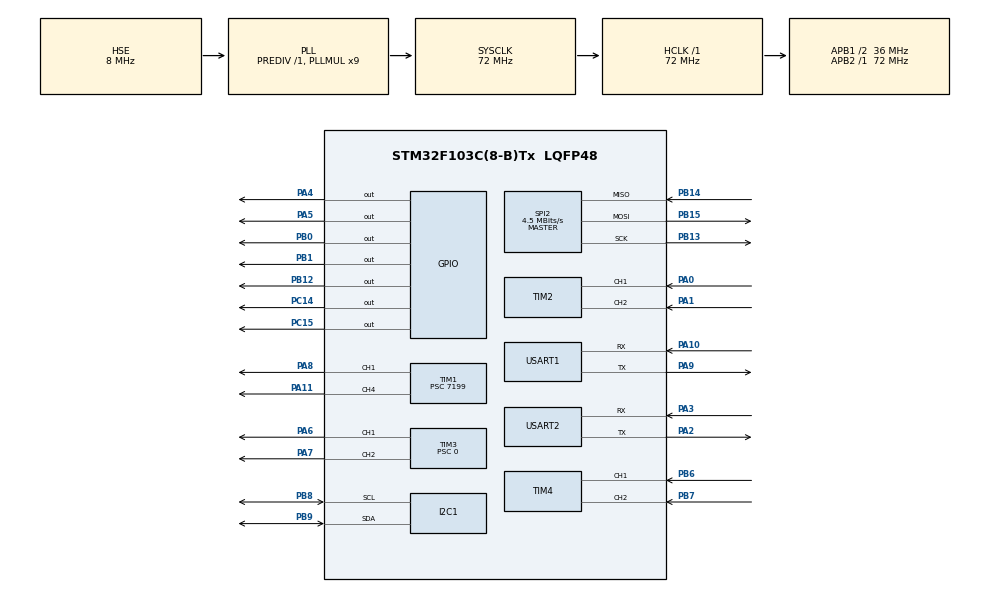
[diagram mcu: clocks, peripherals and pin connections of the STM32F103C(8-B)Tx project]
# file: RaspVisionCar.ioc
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Dma.Request0=USART1_RX
Dma.Request1=USART1_TX
Dma.USART1_RX.0.Direction=DMA_PERIPH_TO_MEMORY
Dma.USART1_RX.0.Instance=DMA1_Channel5
Dma.USART1_RX.0.MemDataAlignment=DMA_MDATAALIGN_BYTE
Dma.USART1_RX.0.MemInc=DMA_MINC_ENABLE
Dma.USART1_RX.0.Mode=DMA_NORMAL
Dma.USART1_RX.0.PeriphDataAlignment=DMA_PDATAALIGN_BYTE
Dma.USART1_RX.0.PeriphInc=DMA_PINC_DISABLE
Dma.USART1_RX.0.Priority=DMA_PRIORITY_LOW
Dma.USART1_TX.1.Direction=DMA_MEMORY_TO_PERIPH
Dma.USART1_TX.1.Instance=DMA1_Channel4
Dma.USART1_TX.1.MemDataAlignment=DMA_MDATAALIGN_BYTE
Dma.USART1_TX.1.MemInc=DMA_MINC_ENABLE
Dma.USART1_TX.1.Mode=DMA_NORMAL
Dma.USART1_TX.1.PeriphDataAlignment=DMA_PDATAALIGN_BYTE
Dma.USART1_TX.1.PeriphInc=DMA_PINC_DISABLE
Dma.USART1_TX.1.Priority=DMA_PRIORITY_LOW
Mcu.Family=STM32F1
Mcu.Name=STM32F103C(8-B)Tx
Mcu.Package=LQFP48
NVIC.DMA1_Channel4_IRQn=true\:0\:0\:false\:false\:true\:false\:true\:true
NVIC.DMA1_Channel5_IRQn=true\:0\:0\:false\:false\:true\:false\:true\:true
NVIC.PriorityGroup=NVIC_PRIORITYGROUP_4
NVIC.TIM1_CC_IRQn=true\:0\:0\:false\:false\:true\:true\:true\:true
NVIC.TIM1_UP_IRQn=true\:0\:0\:false\:false\:true\:true\:true\:true
NVIC.USART1_IRQn=true\:0\:0\:false\:false\:true\:true\:true\:true
PA0-WKUP.GPIO_PuPd=GPIO_PULLUP
PA0-WKUP.Signal=S_TIM2_CH1_ETR
PA1.GPIO_PuPd=GPIO_PULLUP
PA1.Signal=S_TIM2_CH2
PA10.Mode=Asynchronous
PA10.Signal=USART1_RX
PA11.Signal=S_TIM1_CH4
PA13.Mode=Serial_Wire
PA13.Signal=SYS_JTMS-SWDIO
PA14.Mode=Serial_Wire
PA14.Signal=SYS_JTCK-SWCLK
PA2.Mode=Asynchronous
PA2.Signal=USART2_TX
PA3.Mode=Asynchronous
PA3.Signal=USART2_RX
PA4.Signal=GPIO_Output
PA5.Signal=GPIO_Output
PA6.Signal=S_TIM3_CH1
PA7.Signal=S_TIM3_CH2
PA8.Signal=S_TIM1_CH1
PA9.Mode=Asynchronous
PA9.Signal=USART1_TX
PB0.Signal=GPIO_Output
PB1.Signal=GPIO_Output
PB12.PinState=GPIO_PIN_SET
PB12.Signal=GPIO_Output
PB13.Mode=Full_Duplex_Master
PB13.Signal=SPI2_SCK
PB14.Mode=Full_Duplex_Master
PB14.Signal=SPI2_MISO
PB15.Mode=Full_Duplex_Master
PB15.Signal=SPI2_MOSI
PB6.GPIO_PuPd=GPIO_PULLUP
PB6.Signal=S_TIM4_CH1
PB7.GPIO_PuPd=GPIO_PULLUP
PB7.Signal=S_TIM4_CH2
PB8.Mode=I2C
PB8.Signal=I2C1_SCL
PB9.Mode=I2C
PB9.Signal=I2C1_SDA
PC14-OSC32_IN.Signal=GPIO_Output
PC15-OSC32_OUT.Signal=GPIO_Output
PD0-OSC_IN.Mode=HSE-External-Oscillator
PD0-OSC_IN.Signal=RCC_OSC_IN
PD1-OSC_OUT.Mode=HSE-External-Oscillator
PD1-OSC_OUT.Signal=RCC_OSC_OUT
ProjectManager.HeapSize=0x200
ProjectManager.StackSize=0x400
ProjectManager.TargetToolchain=Makefile
RCC.AHBFreq_Value=72000000
RCC.APB1CLKDivider=RCC_HCLK_DIV2
RCC.APB1Freq_Value=36000000
RCC.APB1TimFreq_Value=72000000
RCC.APB2Freq_Value=72000000
RCC.APB2TimFreq_Value=72000000
RCC.HCLKFreq_Value=72000000
RCC.PLLMUL=RCC_PLL_MUL9
RCC.PLLSourceVirtual=RCC_PLLSOURCE_HSE
RCC.SYSCLKFreq_VALUE=72000000
RCC.SYSCLKSource=RCC_SYSCLKSOURCE_PLLCLK
RCC.USBFreq_Value=72000000
SH.S_TIM1_CH1.0=TIM1_CH1,Output Compare1 CH1
SH.S_TIM1_CH4.0=TIM1_CH4,Output Compare4 CH4
SH.S_TIM2_CH1_ETR.0=TIM2_CH1,Encoder_Interface
SH.S_TIM2_CH2.0=TIM2_CH2,Encoder_Interface
SH.S_TIM3_CH1.0=TIM3_CH1,PWM Generation1 CH1
SH.S_TIM3_CH2.0=TIM3_CH2,PWM Generation2 CH2
SH.S_TIM4_CH1.0=TIM4_CH1,Encoder_Interface
SH.S_TIM4_CH2.0=TIM4_CH2,Encoder_Interface
SPI2.BaudRatePrescaler=SPI_BAUDRATEPRESCALER_8
SPI2.CLKPhase=SPI_PHASE_2EDGE
SPI2.CLKPolarity=SPI_POLARITY_HIGH
SPI2.CalculateBaudRate=4.5 MBits/s
SPI2.Direction=SPI_DIRECTION_2LINES
SPI2.Mode=SPI_MODE_MASTER
SPI2.VirtualType=VM_MASTER
TIM1.AutoReloadPreload=TIM_AUTORELOAD_PRELOAD_ENABLE
TIM1.Channel-Output\ Compare1\ CH1=TIM_CHANNEL_1
TIM1.Channel-Output\ Compare4\ CH4=TIM_CHANNEL_4
TIM1.Period=10000-1
TIM1.Prescaler=7199
TIM1.Pulse-Output\ Compare1\ CH1=100-1
TIM1.Pulse-Output\ Compare4\ CH4=200-1
TIM2.EncoderMode=TIM_ENCODERMODE_TI12
TIM2.IC1Filter=8
TIM3.AutoReloadPreload=TIM_AUTORELOAD_PRELOAD_ENABLE
TIM3.Channel-PWM\ Generation1\ CH1=TIM_CHANNEL_1
TIM3.Channel-PWM\ Generation2\ CH2=TIM_CHANNEL_2
TIM3.Period=3599
TIM3.Prescaler=0
TIM4.EncoderMode=TIM_ENCODERMODE_TI12
TIM4.IC1Filter=8
USART1.VirtualMode=VM_ASYNC
USART2.VirtualMode=VM_ASYNC
VP_TIM1_VS_ClockSourceINT.Mode=Internal
VP_TIM3_VS_ClockSourceINT.Mode=Internal
board=custom

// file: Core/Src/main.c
/* USER CODE BEGIN Header */
/**
 ******************************************************************************
 * @file           : main.c
 * @brief          : Main program body
 ******************************************************************************
 * @attention
 *
 * Copyright (c) 2025 STMicroelectronics.
 * All rights reserved.
 *
 * This software is licensed under terms that can be found in the LICENSE file
 * in the root directory of this software component.
 * If no LICENSE file comes with this software, it is provided AS-IS.
 *
 ******************************************************************************
 */
/* USER CODE END Header */
#include "main.h"
#include "dma.h"
#include "i2c.h"
#include "spi.h"
#include "tim.h"
#include "usart.h"
#include "gpio.h"

/* USER CODE BEGIN Includes */
#include "motor.h"
#include "rasp_comm.h"
#include "justfloat.h"
#include "ssd1306.h"
#include "feedforward_controller.h"
#include "encoder.h"
#include "pid_controller.h"
#include "buzzer.h"
#include "icm42688.h"
#include "ahrs_hal.h"
#include "common.h"
// Add this in your main.h or similar header file

/* USER CODE END Includes */

/* USER CODE BEGIN PV */
// system stop flag will be set on rasp_comm "stop" and "start"
volatile uint8_t system_stop_flag = 1;
volatile uint8_t motor_update_flag = 0;
// motor controller硬程序停止
volatile uint8_t motor_program_stop_flag = 1;

volatile uint8_t imu_update_flag = 0;
/* USER CODE END PV */

void SystemClock_Config(void);

/* USER CODE BEGIN 0 */

uint32_t get_tick_ms(void)
{
    // Get CPU cycles and convert to milliseconds
    uint32_t cycles = DWT->CYCCNT;
    return cycles / (SystemCoreClock / 1000);
}

void imu_init();
void imu_update();

#define ICM42688_CS_LOW()   HAL_GPIO_WritePin(GPIOB, GPIO_PIN_12, GPIO_PIN_RESET)
#define ICM42688_CS_HIGH()  HAL_GPIO_WritePin(GPIOB, GPIO_PIN_12, GPIO_PIN_SET)

#define WHO_AM_I_REG  0x75
#define WHO_AM_I_VAL  0x47

extern SPI_HandleTypeDef hspi2;

uint8_t ICM42688_ReadReg(uint8_t reg)
{
    uint8_t tx[2], rx[2];
    tx[0] = reg | 0x80; // set MSB=1 for read
    tx[1] = 0x00;

    ICM42688_CS_LOW();
    HAL_SPI_Transmit(&hspi2, &tx[0], 1, HAL_MAX_DELAY);
    HAL_SPI_Receive(&hspi2, &rx[1], 1, HAL_MAX_DELAY);
    ICM42688_CS_HIGH();

    return rx[1];
}

void ICM42688_Test(void)
{
    HAL_Delay(100); // wait for sensor power-up

    uint8_t whoami = ICM42688_ReadReg(WHO_AM_I_REG);
    if (whoami == WHO_AM_I_VAL)
    {
        usart_info("ICM42688 detected! WHO_AM_I = 0x%02X\r\n", whoami);
    }
    else
    {
        usart_info("ICM42688 not detected! Read: 0x%02X\r\n", whoami);
    }
}
/* USER CODE END 0 */

int main(void)
{

  /* MCU Configuration--------------------------------------------------------*/

  /* Reset of all peripherals, Initializes the Flash interface and the Systick. */
  HAL_Init();

  /* Configure the system clock */
  SystemClock_Config();

  /* Initialize all configured peripherals */
  MX_GPIO_Init();
  MX_DMA_Init();
  MX_USART1_UART_Init();
  MX_TIM3_Init();
  MX_TIM2_Init();
  MX_TIM4_Init();
  MX_I2C1_Init();
  MX_USART2_UART_Init();
  MX_TIM1_Init();
  MX_SPI2_Init();
  /* USER CODE BEGIN 2 */

  // Enable DWT (Data Watchpoint and Trace) unit
  // CoreDebug->DEMCR |= CoreDebug_DEMCR_TRCENA_Msk;
  // DWT->CYCCNT = 0;
  // DWT->CTRL |= DWT_CTRL_CYCCNTENA_Msk;

  SSD1306_Init();
  rasp_comm_init();

  HAL_Delay(1000); // delay for icm42688 starting
  imu_init();
  // ICM42688_Test();

  init_encoders();
  Motor_Init();
  ff_init_default();
  pid_init_default();

  motor_controller_set_turn_angle(0);
  motor_controller_set_target_rpm(0, 0);

  HAL_TIM_Base_Start_IT(&htim1);
  // 启动比较中断
  HAL_TIM_OC_Start_IT(&htim1, TIM_CHANNEL_1);
  HAL_TIM_OC_Start_IT(&htim1, TIM_CHANNEL_4);

  usart_info("========================================");
  usart_info("Rasp Vision Car v1");
  usart_info("========================================");
  buzzer_on(3);

  /* USER CODE END 2 */

  /* Infinite loop */
  /* USER CODE BEGIN WHILE */
  while (1) {
    rasp_comm_poll();

    if(motor_update_flag) {
      motor_update_flag = 0;
      motor_controller_update();
    }
    if(imu_update_flag) {
      imu_update_flag = 0;
      // imu_update();
    }
    // Update OLED display
    uint32_t current_time = HAL_GetTick();
    static uint32_t last_status_time = 0;
    if (current_time - last_status_time > 1000) {
      SSD1306_Fill(SSD1306_COLOR_BLACK);
      SSD1306_GotoXY(0, 0);
      SSD1306_Puts("Rasp Vision Car v1", &Font_7x10, SSD1306_COLOR_WHITE);
      SSD1306_GotoXY(0, 15);
      SSD1306_Puts("UPT:", &Font_7x10, SSD1306_COLOR_WHITE);
      SSD1306_GotoXY(35, 15);
      char time_str[12];
      snprintf(time_str, sizeof(time_str), "%us", (unsigned int)(HAL_GetTick() / 1000));
      SSD1306_Puts(time_str, &Font_7x10, SSD1306_COLOR_WHITE);

      char targets_str[18];
      int16_t real_target_left_rpm = 0, real_target_right_rpm = 0;
      motor_controller_get_real_target_rpm(&real_target_left_rpm, &real_target_right_rpm);
      int16_t turn_angle = motor_controller_get_turn_angle();
      snprintf(targets_str, sizeof(targets_str), "V: %d, %d T: %d", real_target_left_rpm, real_target_right_rpm, turn_angle);
      SSD1306_GotoXY(0, 30);
      SSD1306_Puts(targets_str, &Font_7x10, SSD1306_COLOR_WHITE);

      int16_t l_rpm = 0, r_rpm = 0;
      encoder_get_motor_speed(&l_rpm, &r_rpm);
      char speed_str[18];
      snprintf(speed_str, sizeof(speed_str), "MTR: %d %d rpm", l_rpm, r_rpm);
      SSD1306_GotoXY(0, 45);
      SSD1306_Puts(speed_str, &Font_7x10, SSD1306_COLOR_WHITE);
      SSD1306_UpdateScreen();

      last_status_time = HAL_GetTick();
    }

    /* USER CODE END WHILE */

  }
}

void SystemClock_Config(void)
{
  RCC_OscInitTypeDef RCC_OscInitStruct = {0};
  RCC_ClkInitTypeDef RCC_ClkInitStruct = {0};

  /** Initializes the RCC Oscillators according to the specified parameters
  * in the RCC_OscInitTypeDef structure.
  */
  RCC_OscInitStruct.OscillatorType = RCC_OSCILLATORTYPE_HSE;
  RCC_OscInitStruct.HSEState = RCC_HSE_ON;
  RCC_OscInitStruct.HSEPredivValue = RCC_HSE_PREDIV_DIV1;
  RCC_OscInitStruct.HSIState = RCC_HSI_ON;
  RCC_OscInitStruct.PLL.PLLState = RCC_PLL_ON;
  RCC_OscInitStruct.PLL.PLLSource = RCC_PLLSOURCE_HSE;
  RCC_OscInitStruct.PLL.PLLMUL = RCC_PLL_MUL9;
  if (HAL_RCC_OscConfig(&RCC_OscInitStruct) != HAL_OK)
  {
    Error_Handler();
  }

  /** Initializes the CPU, AHB and APB buses clocks
  */
  RCC_ClkInitStruct.ClockType = RCC_CLOCKTYPE_HCLK|RCC_CLOCKTYPE_SYSCLK
                              |RCC_CLOCKTYPE_PCLK1|RCC_CLOCKTYPE_PCLK2;
  RCC_ClkInitStruct.SYSCLKSource = RCC_SYSCLKSOURCE_PLLCLK;
  RCC_ClkInitStruct.AHBCLKDivider = RCC_SYSCLK_DIV1;
  RCC_ClkInitStruct.APB1CLKDivider = RCC_HCLK_DIV2;
  RCC_ClkInitStruct.APB2CLKDivider = RCC_HCLK_DIV1;

  if (HAL_RCC_ClockConfig(&RCC_ClkInitStruct, FLASH_LATENCY_2) != HAL_OK)
  {
    Error_Handler();
  }
}

/* USER CODE BEGIN 4 */

void HAL_TIM_PeriodElapsedCallback(TIM_HandleTypeDef *htim) {
    if(htim->Instance == TIM1) { // TIM1: 1000ms Interrupt
    }
}

void HAL_TIM_OC_DelayElapsedCallback(TIM_HandleTypeDef *htim)
{
  if(htim->Instance == TIM1)
  {
    switch(htim->Channel)
    {
      case HAL_TIM_ACTIVE_CHANNEL_1:
        // 100ms任务
        imu_update_flag = 1;

        uint32_t next_compare1 = (__HAL_TIM_GET_COMPARE(&htim1, TIM_CHANNEL_1) + 500) % 10000;
        __HAL_TIM_SET_COMPARE(&htim1, TIM_CHANNEL_1, next_compare1);
        break;
      case HAL_TIM_ACTIVE_CHANNEL_4:
        // 20ms任务
        buzzer_update();
        encoder_update_10ms();
        motor_update_flag = 1;

        // 重新设置下一个20ms触发点（200计数 = 20ms）
        uint32_t next_compare = (__HAL_TIM_GET_COMPARE(&htim1, TIM_CHANNEL_4) + 200) % 10000;
        __HAL_TIM_SET_COMPARE(&htim1, TIM_CHANNEL_4, next_compare);
        break;
        default:
          // 其他通道暂不处理
        break;
    }
  }
}

/* USER CODE END 4 */

void Error_Handler(void)
{
  /* USER CODE BEGIN Error_Handler_Debug */
  /* User can add his own implementation to report the HAL error return state */
  usart_error("Error: %s", __FUNCTION__);
  __disable_irq();
  while (1) {
  }
  /* USER CODE END Error_Handler_Debug */
}
#ifdef USE_FULL_ASSERT
/**
  * @brief  Reports the name of the source file and the source line number
  *         where the assert_param error has occurred.
  * @param  file: pointer to the source file name
  * @param  line: assert_param error line source number
  * @retval None
  */
void assert_failed(uint8_t *file, uint32_t line)
{
  /* USER CODE BEGIN 6 */
  /* User can add his own implementation to report the file name and line
     number, ex: printf("Wrong parameters value: file %s on line %d\r\n", file,
     line) */
  /* USER CODE END 6 */
}
#endif /* USE_FULL_ASSERT */
